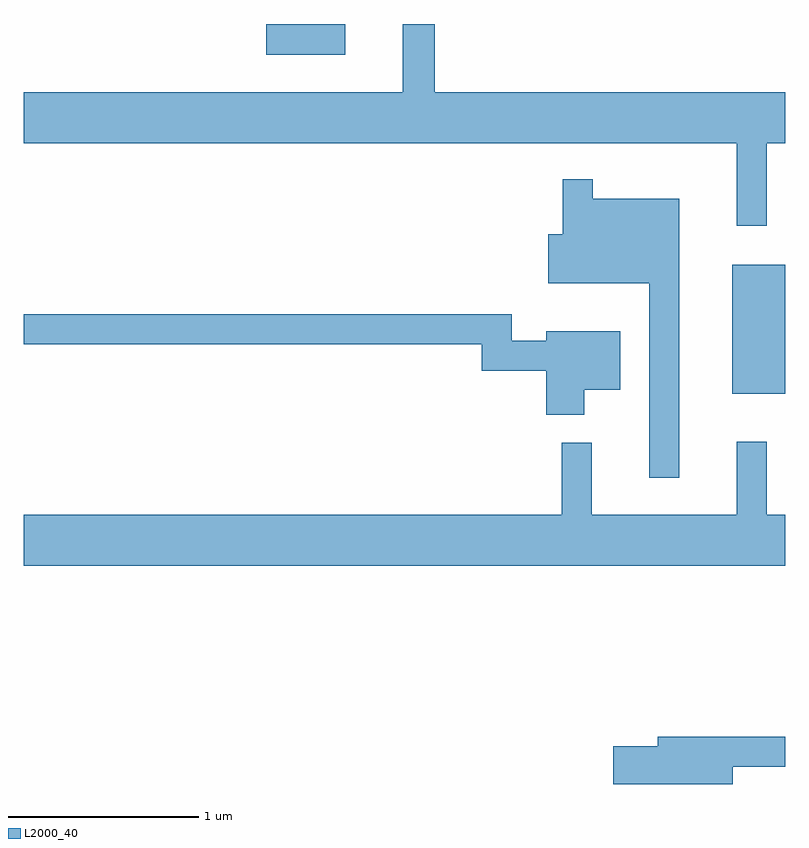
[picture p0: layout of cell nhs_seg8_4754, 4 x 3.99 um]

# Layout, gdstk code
import gdstk
lib = gdstk.Library(unit=1e-6, precision=1e-09)
def R(c, l, rs):  # rectangles x0, y0, x1, y1
    for r in rs: c.add(gdstk.rectangle(r[:2], r[2:], *l))
def P(c, l, *ps):  # polygons
    for p in ps: c.add(gdstk.Polygon(p, *l))
L2000_40 = (2000, 40)

nhs_seg8_4754 = lib.new_cell('nhs_seg8_4754')
R(nhs_seg8_4754, L2000_40, [(331.331,1868.401,331.611,1869.079), (328.886,1870.181,329.299,1870.342)])
P(nhs_seg8_4754, L2000_40, [(331.514,1869.716),(331.611,1869.716),(331.611,1869.984),(329.769,1869.984),(329.769,1870.342),(329.601,1870.342),(329.601,1869.984),(327.611,1869.984),(327.611,1869.716),(331.356,1869.716),(331.356,1869.283),(331.514,1869.283)],
  [(331.054,1869.424),(330.599,1869.424),(330.599,1869.528),(330.441,1869.528),(330.441,1869.239),(330.366,1869.239),(330.366,1868.981),(330.896,1868.981),(330.896,1867.958),(331.054,1867.958)],
  [(330.554,1868.421),(330.744,1868.421),(330.744,1868.729),(330.356,1868.729),(330.356,1868.679),(330.174,1868.679),(330.174,1868.819),(327.611,1868.819),(327.611,1868.661),(330.016,1868.661),(330.016,1868.521),(330.356,1868.521),(330.356,1868.291),(330.554,1868.291)],
  [(331.611,1867.764),(331.514,1867.764),(331.514,1868.148),(331.356,1868.148),(331.356,1867.764),(330.594,1867.764),(330.594,1868.143),(330.436,1868.143),(330.436,1867.764),(327.611,1867.764),(327.611,1867.496),(331.611,1867.496)],
  [(331.334,1866.441),(331.611,1866.441),(331.611,1866.599),(330.941,1866.599),(330.941,1866.549),(330.706,1866.549),(330.706,1866.351),(331.334,1866.351)])

lib.write_gds('nhs_seg8_4754.gds')
